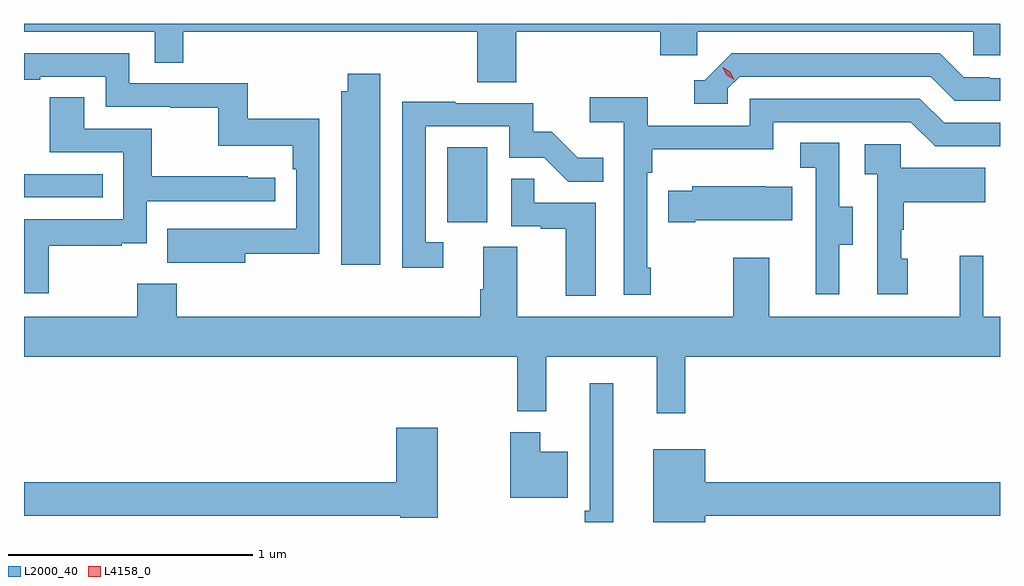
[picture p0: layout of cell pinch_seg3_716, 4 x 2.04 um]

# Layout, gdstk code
import gdstk
lib = gdstk.Library(unit=1e-6, precision=1e-09)
def R(c, l, rs):  # rectangles x0, y0, x1, y1
    for r in rs: c.add(gdstk.rectangle(r[:2], r[2:], *l))
def P(c, l, *ps):  # polygons
    for p in ps: c.add(gdstk.Polygon(p, *l))
L2000_40 = (2000, 40)
L4158_0 = (4158, 0)

pinch_seg3_716 = lib.new_cell('pinch_seg3_716')
R(pinch_seg3_716, L2000_40, [(862.4,748.086,862.564,748.393), (860.665,748.188,860.987,748.284)])
P(pinch_seg3_716, L2000_40, [(862.682,748.868),(863.273,748.868),(863.273,748.77),(863.424,748.77),(863.424,748.868),(864.555,748.868),(864.555,748.77),(864.665,748.77),(864.665,748.9),(860.665,748.9),(860.665,748.868),(861.201,748.868),(861.201,748.741),(861.317,748.741),(861.317,748.868),(862.522,748.868),(862.522,748.66),(862.682,748.66)],
  [(863.55,748.635),(863.598,748.683),(864.381,748.683),(864.48,748.584),(864.665,748.584),(864.665,748.677),(864.624,748.677),(864.624,748.68),(864.517,748.68),(864.418,748.779),(863.565,748.779),(863.454,748.668),(863.411,748.668),(863.411,748.572),(863.55,748.572)],
  [(861.571,747.958),(861.876,747.958),(861.876,748.51),(861.583,748.51),(861.583,748.656),(861.096,748.656),(861.096,748.779),(860.665,748.779),(860.665,748.671),(860.731,748.671),(860.731,748.683),(861,748.683),(861,748.56),(861.265,748.56),(861.265,748.555),(861.462,748.555),(861.462,748.4),(861.767,748.4),(861.767,748.304),(861.78,748.304),(861.78,748.059),(861.467,748.059),(861.467,748.06),(861.253,748.06),(861.253,747.92),(861.571,747.92)],
  [(862.126,748.696),(861.991,748.696),(861.991,748.624),(861.965,748.624),(861.965,747.912),(862.126,747.912)],
  [(863.233,747.901),(863.22,747.901),(863.22,748.289),(863.24,748.289),(863.24,748.385),(863.736,748.385),(863.736,748.497),(864.3,748.497),(864.399,748.398),(864.665,748.398),(864.665,748.494),(864.436,748.494),(864.337,748.593),(863.64,748.593),(863.64,748.482),(863.222,748.482),(863.222,748.598),(862.983,748.598),(862.983,748.496),(863.124,748.496),(863.124,747.789),(863.233,747.789)],
  [(860.767,747.99),(861.065,747.99),(861.065,748.001),(861.168,748.001),(861.168,748.173),(861.694,748.173),(861.694,748.269),(861.581,748.269),(861.581,748.274),(861.188,748.274),(861.188,748.47),(860.911,748.47),(860.911,748.598),(860.771,748.598),(860.771,748.374),(861.072,748.374),(861.072,748.098),(860.665,748.098),(860.665,747.795),(860.767,747.795)],
  [(862.384,748.005),(862.311,748.005),(862.311,748.479),(862.653,748.479),(862.653,748.35),(862.798,748.35),(862.896,748.252),(863.039,748.252),(863.039,748.351),(862.935,748.351),(862.828,748.458),(862.752,748.458),(862.752,748.575),(862.433,748.575),(862.433,748.58),(862.215,748.58),(862.215,747.9),(862.384,747.9)],
  [(864.007,747.994),(864.061,747.994),(864.061,748.149),(864.006,748.149),(864.006,748.412),(863.847,748.412),(863.847,748.309),(863.91,748.309),(863.91,748.005),(863.909,748.005),(863.909,747.792),(864.007,747.792)],
  [(864.286,747.936),(864.261,747.936),(864.261,748.055),(864.271,748.055),(864.271,748.169),(864.605,748.169),(864.605,748.309),(864.258,748.309),(864.258,748.407),(864.111,748.407),(864.111,748.283),(864.162,748.283),(864.162,747.792),(864.286,747.792)],
  [(863.008,748.167),(862.757,748.167),(862.757,748.265),(862.662,748.265),(862.662,748.071),(862.783,748.071),(862.783,748.059),(862.886,748.059),(862.886,747.785),(863.008,747.785)],
  [(863.416,748.094),(863.813,748.094),(863.813,748.231),(863.705,748.231),(863.705,748.234),(863.403,748.234),(863.403,748.216),(863.305,748.216),(863.305,748.087),(863.416,748.087)],
  [(863.375,747.536),(864.665,747.536),(864.665,747.7),(864.597,747.7),(864.597,747.949),(864.5,747.949),(864.5,747.7),(863.719,747.7),(863.719,747.94),(863.572,747.94),(863.572,747.7),(862.687,747.7),(862.687,747.986),(862.547,747.986),(862.547,747.812),(862.535,747.812),(862.535,747.7),(861.29,747.7),(861.29,747.835),(861.13,747.835),(861.13,747.7),(860.665,747.7),(860.665,747.536),(862.687,747.536),(862.687,747.311),(862.805,747.311),(862.805,747.536),(863.258,747.536),(863.258,747.303),(863.375,747.303)],
  [(863.08,747.427),(862.983,747.427),(862.983,746.905),(862.963,746.905),(862.963,746.857),(863.08,746.857)],
  [(862.36,747.244),(862.19,747.244),(862.19,747.02),(860.665,747.02),(860.665,746.884),(862.206,746.884),(862.206,746.876),(862.36,746.876)],
  [(862.894,747.145),(862.78,747.145),(862.78,747.226),(862.658,747.226),(862.658,746.957),(862.894,746.957)],
  [(863.458,746.884),(864.665,746.884),(864.665,747.02),(863.458,747.02),(863.458,747.157),(863.243,747.157),(863.243,746.857),(863.458,746.857)])
P(pinch_seg3_716, L4158_0, [(863.575,748.67),(863.544,748.69),(863.528,748.722),(863.528,748.722),(863.529,748.722),(863.559,748.703),(863.575,748.67),(863.575,748.67)])

lib.write_gds('pinch_seg3_716.gds')
